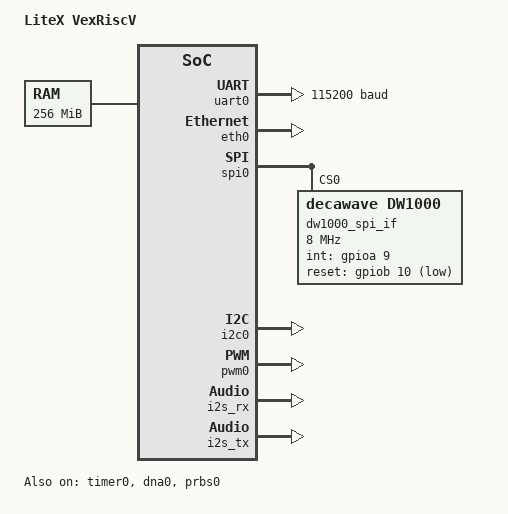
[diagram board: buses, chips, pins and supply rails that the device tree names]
/*
 * Copyright (c) 2018 - 2019 Antmicro <www.antmicro.com>
 *
 * SPDX-License-Identifier: Apache-2.0
 */

/dts-v1/;

#include <riscv32-litex-vexriscv.dtsi>

/ {
	model = "LiteX VexRiscV";
	compatible = "litex,vexriscv";
	chosen {
		zephyr,console = &uart0;
		zephyr,shell-uart = &uart0;
		zephyr,sram = &ram0;
	};

	ram0: memory@40000000 {
		device_type = "memory";
		reg = <0x40000000 0x10000000>;
	};
};

&uart0 {
	status = "okay";
	current-speed = <115200>;
};

&timer0 {
	status = "okay";
};

&eth0 {
	status = "okay";
};

&dna0 {
	status = "okay";
};

&spi0 {
	status = "okay";
};

&prbs0 {
	status = "okay";
};

&i2c0 {
	status = "okay";
	label = "I2C_0";
};

&pwm0 {
	status = "okay";
};

&gpio_out {
	status = "okay";
};

&gpio_in {
	status = "okay";
};

&i2s_rx {
	status = "okay";
};

&i2s_tx {
	status = "okay";
};

&clk0 {
	status = "okay";
};

&clk1 {
	status = "okay";
};

&clock0 {
	status = "okay";
};

dw1000_spi: &spi0 {
        status = "okay";
        litex_dw_spi: arty_dw1000_spi@0 { 
                compatible = "decawave,dw1000";
                status = "okay";
                reg = <0>;
                label = "dw1000_spi_if";
                int-gpios = <&gpioa 9 GPIO_ACTIVE_HIGH>;
                reset-gpios = <&gpiob 10 GPIO_ACTIVE_LOW>;
                spi-max-frequency = <8000000>;
        };
};
